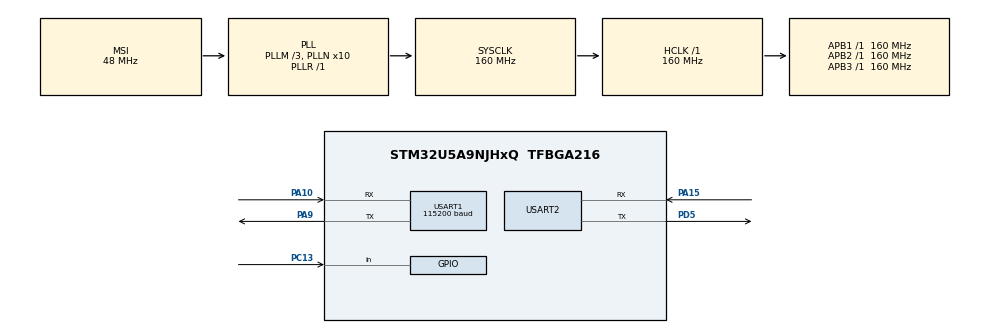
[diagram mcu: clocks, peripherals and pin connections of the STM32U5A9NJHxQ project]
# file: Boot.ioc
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CORTEX_M33_NS.userName=CORTEX_M33
HASH.DataType=HASH_DATATYPE_8B
HASH.SecureHashAlgorithmType=SHA256
IWDG.Prescaler=IWDG_PRESCALER_256
IWDG.Reload=625
Mcu.Family=STM32U5
Mcu.Name=STM32U5A9NJHxQ
Mcu.Package=TFBGA216
NVIC.PriorityGroup=NVIC_PRIORITYGROUP_4
PA10.Mode=Asynchronous
PA10.Signal=USART1_RX
PA15\ (JTDI).Mode=Asynchronous
PA15\ (JTDI).Signal=USART2_RX
PA9.Mode=Asynchronous
PA9.Signal=USART1_TX
PC13.GPIO_PuPd=GPIO_PULLDOWN
PC13.Signal=GPIO_Input
PD5.Mode=Asynchronous
PD5.Signal=USART2_TX
PH0-OSC_IN\ (PH0).Mode=HSE-External-Oscillator
PH0-OSC_IN\ (PH0).Signal=RCC_OSC_IN
PH1-OSC_OUT\ (PH1).Mode=HSE-External-Oscillator
PH1-OSC_OUT\ (PH1).Signal=RCC_OSC_OUT
ProjectManager.HeapSize=0x200
ProjectManager.StackSize=0x400
ProjectManager.TargetToolchain=MDK-ARM V5.39
RCC.ADCFreq_Value=16000000
RCC.AHBFreq_Value=160000000
RCC.APB1Freq_Value=160000000
RCC.APB1TimFreq_Value=160000000
RCC.APB2Freq_Value=160000000
RCC.APB2TimFreq_Value=160000000
RCC.APB3Freq_Value=160000000
RCC.CortexFreq_Value=160000000
RCC.EPOD_VALUE=48000000
RCC.HCLKFreq_Value=160000000
RCC.HSE_VALUE=16000000
RCC.HSI48_VALUE=48000000
RCC.HSI_VALUE=16000000
RCC.LSE_VALUE=32768
RCC.LSIDIV_VALUE=32000
RCC.MSIClockRange=RCC_MSIRANGE_0
RCC.MSI_VALUE=48000000
RCC.PLL1R=1
RCC.PLL2FRACN=0
RCC.PLL3FRACN=0
RCC.PLLFRACN=0
RCC.PLLM=3
RCC.PLLN=10
RCC.SYSCLKFreq_VALUE=160000000
RCC.SYSCLKSource=RCC_SYSCLKSOURCE_PLLCLK
RCC.VCOOutputFreq_Value=160000000
USART1.BaudRate=115200
USART1.VirtualMode-Asynchronous=VM_ASYNC
USART2.VirtualMode-Asynchronous=VM_ASYNC
VP_HASH_VS_HASH.Mode=HASH_Activate
VP_IWDG_VS_IWDG.Mode=IWDG_Activate
VP_LPBAMQUEUE_VS_QUEUE.Mode=QUEUEMODE
VP_LPBAM_VS_SIG1.Mode=SmartRun
VP_LPBAM_VS_SIG4.Mode=LPDMA1
VP_MEMORYMAP_VS_MEMORYMAP.Mode=CurAppReg
VP_PKA_VS_PKA.Mode=PKA_Activate
VP_PWR_VS_SECSignals.Mode=Security/Privilege
VP_RNG_VS_RNG.Mode=RNG_Activate
board=custom

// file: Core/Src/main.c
/* USER CODE BEGIN Header */
/**
 ******************************************************************************
 * @file           : main.c
 * @brief          : Main program body
 ******************************************************************************
 * @attention
 *
 * Copyright (c) 2026 STMicroelectronics.
 * All rights reserved.
 *
 * This software is licensed under terms that can be found in the LICENSE file
 * in the root directory of this software component.
 * If no LICENSE file comes with this software, it is provided AS-IS.
 *
 ******************************************************************************
 */
/* USER CODE END Header */
#include "main.h"
#include "hash.h"
#include "iwdg.h"
#include "pka.h"
#include "rng.h"
#include "usart.h"
#include "gpio.h"

/* USER CODE BEGIN Includes */
#include "bootutil/boot_active_slot_flash.h"
#include "bootutil/boot_public.h"
#include "bootutil/bootutil.h"
#include "bootutil/bootutil_log.h"
#include "sysflash.h"
#include "ymodem.h"
/* USER CODE END Includes */

/* USER CODE BEGIN PD */
#define BOOT_TRIGGER_PIN GPIO_PIN_13
#define BOOT_TRIGGER_PORT GPIOC
#define BOOT_TRIGGER_ACTIVE GPIO_PIN_SET
#define BOOT_ACTIVE_SLOT_UNKNOWN 0xFFU
/* USER CODE END PD */

/* USER CODE BEGIN PV */
uint8_t FileName[FILE_NAME_LENGTH];
/* USER CODE END PV */

void SystemClock_Config(void);
/* USER CODE BEGIN PFP */
extern void do_boot(struct boot_rsp *rsp);
/* USER CODE END PFP */

/* USER CODE BEGIN 0 */
typedef enum
{
  BOOT_MODE_NORMAL = 0,
  BOOT_MODE_DOWNLOAD = 1,
} boot_mode_t;

static boot_mode_t check_boot_mode(void)
{
  if (HAL_GPIO_ReadPin(BOOT_TRIGGER_PORT, BOOT_TRIGGER_PIN) == BOOT_TRIGGER_ACTIVE)
  {
    return BOOT_MODE_DOWNLOAD;
  }
  return BOOT_MODE_NORMAL;
}

static void enter_bootloader_download(uint8_t active_slot)
{
  uint32_t primary = CY_FLASH_BASE + CY_BOOT_BOOTLOADER_SIZE;
  uint32_t secondary = primary + CY_BOOT_PRIMARY_1_SIZE;
  const char *active_str = "unknown";
  const char *target_str = "unknown";
  uint32_t target_addr = 0;
  uint8_t target_slot = 0xFF;
  static uint8_t ymodem_buf[PACKET_1K_SIZE + PACKET_OVERHEAD];

  if (active_slot == BOOT_SLOT_PRIMARY)
  {
    active_str = "primary";
    target_str = "secondary";
    target_addr = secondary;
    target_slot = BOOT_SLOT_SECONDARY;
  }
  else if (active_slot == BOOT_SLOT_SECONDARY)
  {
    active_str = "secondary";
    target_str = "primary";
    target_addr = primary;
    target_slot = BOOT_SLOT_PRIMARY;
  }
  else if (active_slot == BOOT_ACTIVE_SLOT_UNKNOWN)
  {
    active_str = "none";
    target_str = "primary";
    target_addr = primary;
    target_slot = BOOT_SLOT_PRIMARY;
  }

  BOOT_LOG_INF("Enter bootloader download mode");
  if (target_addr != 0)
  {
    BOOT_LOG_INF("Active slot: %s, download target: %s (0x%08lX)",
                 active_str, target_str, (unsigned long)target_addr);
  }
  else
  {
    BOOT_LOG_ERR("Download target: unknown (state invalid)");
    BOOT_LOG_ERR("Cannot select target slot, abort.");
    while (1)
    {
      IWDG_Feed();
      HAL_Delay(200);
    }
  }

  BOOT_LOG_INF("Ready for YMODEM download.");

  {
    int32_t rc = Ymodem_Receive(ymodem_buf, target_slot);
    if (rc > 0)
    {
      BOOT_LOG_INF("YMODEM receive OK, size=%ld bytes", (long)rc);
    }
    else if (rc == 0)
    {
      BOOT_LOG_WRN("YMODEM aborted or no file received.");
    }
    else
    {
      BOOT_LOG_ERR("YMODEM receive failed, rc=%ld", (long)rc);
    }
  }

  BOOT_LOG_INF("Download finished. Reset to boot the new image.");
  IWDG_Feed();
  HAL_Delay(50);
  NVIC_SystemReset();
}
/* USER CODE END 0 */

int main(void)
{

  /* USER CODE BEGIN 1 */
  struct boot_rsp rsp;
  int boot_rc;
  /* USER CODE END 1 */

  /* MCU Configuration--------------------------------------------------------*/

  /* Reset of all peripherals, Initializes the Flash interface and the Systick. */
  HAL_Init();

  /* Configure the system clock */
  SystemClock_Config();

  /* Initialize all configured peripherals */
  MX_GPIO_Init();
  MX_USART1_UART_Init();
  MX_USART2_UART_Init();
  MX_IWDG_Init();
  MX_HASH_Init();
  MX_RNG_Init();
  MX_PKA_Init();
  /* USER CODE BEGIN 2 */
  boot_mode_t mode = check_boot_mode();

  if (mode == BOOT_MODE_DOWNLOAD)
  {
    BOOT_LOG_INF("[Bootloader] GPIO trigger detected, entering download mode...");
    uint8_t active_slot;

    if (!boot_active_slot_read(&active_slot))
    {
      /*
       * Previous behavior: invalid or empty user area record aborted the
       * download path.
       *
       * BOOT_LOG_ERR("Active slot record invalid, abort download.");
       * while (1)
       * {
       *   IWDG_Feed();
       *   HAL_Delay(200);
       * }
       */
      BOOT_LOG_WRN("Active slot record invalid, default download target: primary.");
      active_slot = BOOT_ACTIVE_SLOT_UNKNOWN;
    }

    enter_bootloader_download(active_slot);
  }

  boot_rc = boot_go(&rsp);

  if (boot_rc != 0)
  {
    BOOT_LOG_ERR("No valid image, stay in bootloader. rc=%d", boot_rc);
    while (1)
    {
      IWDG_Feed();
      HAL_Delay(200);
    }
  }

  {
    const uint32_t secondary = CY_FLASH_BASE + CY_BOOT_BOOTLOADER_SIZE +
                               CY_BOOT_PRIMARY_1_SIZE;
    uint8_t active_slot = BOOT_SLOT_PRIMARY;
    boot_active_slot_write_result_t write_result;

    if (rsp.br_image_off == secondary)
    {
      active_slot = BOOT_SLOT_SECONDARY;
    }

    write_result = boot_active_slot_write(active_slot);
    if (write_result != BOOT_ACTIVE_SLOT_WRITE_OK)
    {
      BOOT_LOG_ERR("Active slot record write failed. rc=%u", (unsigned int)write_result);
    }
  }

  do_boot(&rsp);
  /* USER CODE END 2 */

  /* Infinite loop */
  while (1)
  {

  }
}

void SystemClock_Config(void)
{
  RCC_OscInitTypeDef RCC_OscInitStruct = {0};
  RCC_ClkInitTypeDef RCC_ClkInitStruct = {0};

  /** Configure the main internal regulator output voltage
  */
  if (HAL_PWREx_ControlVoltageScaling(PWR_REGULATOR_VOLTAGE_SCALE1) != HAL_OK)
  {
    Error_Handler();
  }

  /** Initializes the CPU, AHB and APB buses clocks
  */
  RCC_OscInitStruct.OscillatorType = RCC_OSCILLATORTYPE_HSI48|RCC_OSCILLATORTYPE_LSI
                              |RCC_OSCILLATORTYPE_MSI;
  RCC_OscInitStruct.HSI48State = RCC_HSI48_ON;
  RCC_OscInitStruct.LSIState = RCC_LSI_ON;
  RCC_OscInitStruct.MSIState = RCC_MSI_ON;
  RCC_OscInitStruct.MSICalibrationValue = RCC_MSICALIBRATION_DEFAULT;
  RCC_OscInitStruct.MSIClockRange = RCC_MSIRANGE_0;
  RCC_OscInitStruct.LSIDiv = RCC_LSI_DIV1;
  RCC_OscInitStruct.PLL.PLLState = RCC_PLL_ON;
  RCC_OscInitStruct.PLL.PLLSource = RCC_PLLSOURCE_MSI;
  RCC_OscInitStruct.PLL.PLLMBOOST = RCC_PLLMBOOST_DIV4;
  RCC_OscInitStruct.PLL.PLLM = 3;
  RCC_OscInitStruct.PLL.PLLN = 10;
  RCC_OscInitStruct.PLL.PLLP = 2;
  RCC_OscInitStruct.PLL.PLLQ = 2;
  RCC_OscInitStruct.PLL.PLLR = 1;
  RCC_OscInitStruct.PLL.PLLRGE = RCC_PLLVCIRANGE_1;
  RCC_OscInitStruct.PLL.PLLFRACN = 0;
  if (HAL_RCC_OscConfig(&RCC_OscInitStruct) != HAL_OK)
  {
    Error_Handler();
  }

  /** Initializes the CPU, AHB and APB buses clocks
  */
  RCC_ClkInitStruct.ClockType = RCC_CLOCKTYPE_HCLK|RCC_CLOCKTYPE_SYSCLK
                              |RCC_CLOCKTYPE_PCLK1|RCC_CLOCKTYPE_PCLK2
                              |RCC_CLOCKTYPE_PCLK3;
  RCC_ClkInitStruct.SYSCLKSource = RCC_SYSCLKSOURCE_PLLCLK;
  RCC_ClkInitStruct.AHBCLKDivider = RCC_SYSCLK_DIV1;
  RCC_ClkInitStruct.APB1CLKDivider = RCC_HCLK_DIV1;
  RCC_ClkInitStruct.APB2CLKDivider = RCC_HCLK_DIV1;
  RCC_ClkInitStruct.APB3CLKDivider = RCC_HCLK_DIV1;

  if (HAL_RCC_ClockConfig(&RCC_ClkInitStruct, FLASH_LATENCY_4) != HAL_OK)
  {
    Error_Handler();
  }
}

/* USER CODE BEGIN 4 */
void __aeabi_assert(const char *expr, const char *file, int line)
{
  (void)expr;
  (void)file;
  (void)line;
  Error_Handler();
  while (1)
  {
  }
}
/* USER CODE END 4 */

void Error_Handler(void)
{
  __disable_irq();
  while (1)
  {
  }
}
#ifdef USE_FULL_ASSERT
/**
  * @brief  Reports the name of the source file and the source line number
  *         where the assert_param error has occurred.
  * @param  file: pointer to the source file name
  * @param  line: assert_param error line source number
  * @retval None
  */
void assert_failed(uint8_t *file, uint32_t line)
{
  /* USER CODE BEGIN 6 */
  /* User can add an implementation here to report the file name and line number. */
  /* USER CODE END 6 */
}
#endif /* USE_FULL_ASSERT */
